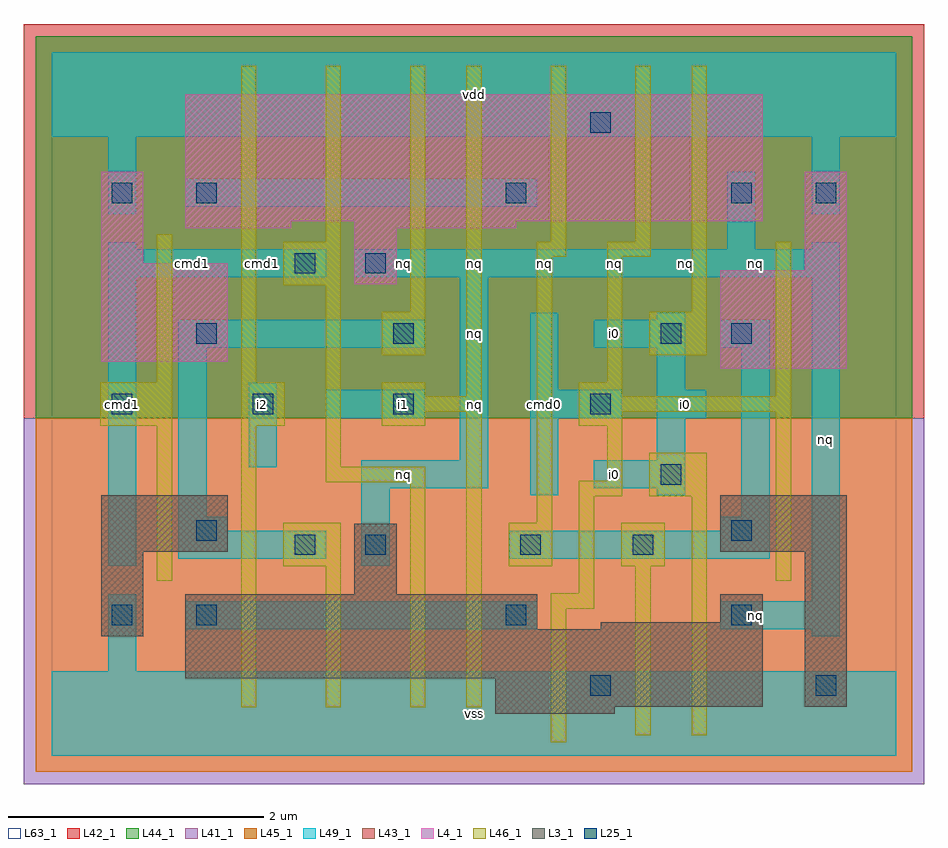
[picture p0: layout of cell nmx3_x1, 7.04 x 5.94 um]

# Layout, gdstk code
import gdstk
lib = gdstk.Library(unit=1e-6, precision=1e-09)
def R(c, l, rs):  # rectangles x0, y0, x1, y1
    for r in rs: c.add(gdstk.rectangle(r[:2], r[2:], *l))
def A(c, l, x, y, w, h, nx, ny, dx, dy):  # array of equal rectangles
    R(c, l, [(x+i*dx, y+j*dy, x+i*dx+w, y+j*dy+h) for i in range(nx) for j in range(ny)])
L3_1 = (3, 1)
L4_1 = (4, 1)
L25_1 = (25, 1)
L41_1 = (41, 1)
L42_1 = (42, 1)
L43_1 = (43, 1)
L44_1 = (44, 1)
L45_1 = (45, 1)
L46_1 = (46, 1)
L49_1 = (49, 1)
L63_1 = (63, 1)

nmx3_x1 = lib.new_cell('nmx3_x1')
R(nmx3_x1, L3_1, [(3.465,0.33,4.4,0.385), (3.465,0.385,5.555,0.605), (5.885,0.385,6.215,1.595), (1.045,0.605,5.555,0.99), (0.385,0.935,0.715,1.595), (1.045,0.99,3.795,1.265), (4.29,0.99,5.555,1.045), (5.225,1.045,5.555,1.265), (2.365,1.265,2.695,1.815), (0.385,1.595,1.375,2.035), (5.225,1.595,6.215,2.035)])
R(nmx3_x1, L4_1, [(5.225,3.025,6.215,3.795), (0.385,3.08,1.375,3.85), (2.365,3.685,2.695,4.125), (5.885,3.795,6.215,4.565), (0.385,3.85,0.715,4.565), (1.045,4.125,1.87,4.18), (2.365,4.125,3.63,4.18), (1.045,4.18,5.555,5.17)])
A(nmx3_x1, L25_1, 4.21, 0.47, 0.16, 0.16, 1, 3, 0, 2.2)
A(nmx3_x1, L25_1, 0.47, 2.67, 0.16, 0.16, 3, 1, 1.1, 0)
R(nmx3_x1, L25_1, [(5.97,0.47,6.13,0.63), (0.47,1.02,0.63,1.18), (1.13,1.02,1.29,1.18), (3.55,1.02,3.71,1.18), (5.31,1.02,5.47,1.18), (1.9,1.57,2.06,1.73), (2.45,1.57,2.61,1.73), (3.66,1.57,3.82,1.73), (4.54,1.57,4.7,1.73), (1.13,1.68,1.29,1.84), (5.31,1.68,5.47,1.84), (4.76,2.12,4.92,2.28), (1.13,3.22,1.29,3.38), (2.67,3.22,2.83,3.38), (4.76,3.22,4.92,3.38), (5.31,3.22,5.47,3.38), (1.9,3.77,2.06,3.93), (2.45,3.77,2.61,3.93), (0.47,4.32,0.63,4.48), (1.13,4.32,1.29,4.48), (3.55,4.32,3.71,4.48), (5.31,4.32,5.47,4.48), (5.97,4.32,6.13,4.48)])
R(nmx3_x1, L41_1, [(-0.22,-0.22,6.82,2.64)])
R(nmx3_x1, L42_1, [(-0.22,2.64,6.82,5.72)])
R(nmx3_x1, L43_1, [(3.465,0.33,4.4,0.385), (3.465,0.385,5.555,0.605), (5.885,0.385,6.215,1.595), (1.045,0.605,5.555,0.99), (0.385,0.935,0.715,1.595), (1.045,0.99,3.795,1.265), (4.29,0.99,5.555,1.045), (5.225,1.045,5.555,1.265), (2.365,1.265,2.695,1.815), (0.385,1.595,1.375,2.035), (5.225,1.595,6.215,2.035), (5.225,3.025,6.215,3.795), (0.385,3.08,1.375,3.85), (2.365,3.685,2.695,4.125), (5.885,3.795,6.215,4.565), (0.385,3.85,0.715,4.565), (1.045,4.125,1.87,4.18), (2.365,4.125,3.63,4.18), (1.045,4.18,5.555,5.17)])
R(nmx3_x1, L44_1, [(-0.125,2.64,6.725,5.625)])
R(nmx3_x1, L45_1, [(-0.125,-0.125,6.725,2.64)])
R(nmx3_x1, L46_1, [(3.9,0.105,4.02,1.15), (4.56,0.16,4.68,1.48), (5,0.16,5.12,2.03), (1.48,0.38,1.6,2.58), (2.14,0.38,2.26,1.48), (2.8,0.38,2.92,2.14), (3.24,0.38,3.36,2.69), (3.9,1.15,4.24,1.27), (4.12,1.27,4.24,2.03), (0.82,1.37,0.94,2.58), (5.66,1.37,5.78,2.69), (1.81,1.48,2.26,1.82), (3.57,1.48,3.91,1.82), (4.45,1.48,4.79,1.82), (3.79,1.82,3.91,3.9), (4.12,2.03,4.46,2.15), (4.67,2.03,5.12,2.37), (2.14,2.14,2.92,2.26), (4.34,2.15,4.46,2.58), (2.14,2.26,2.26,3.68), (0.38,2.58,0.94,2.92), (1.48,2.58,1.82,2.92), (2.58,2.58,2.92,2.69), (4.12,2.58,4.46,2.69), (2.58,2.69,3.36,2.81), (4.12,2.69,5.78,2.81), (2.58,2.81,2.92,2.92), (3.24,2.81,3.36,5.395), (4.12,2.81,4.46,2.92), (5.66,2.81,5.78,4.02), (0.82,2.92,0.94,4.075), (1.48,2.92,1.6,5.395), (4.34,2.92,4.46,3.9), (2.58,3.13,2.92,3.47), (4.67,3.13,5.12,3.47), (2.8,3.47,2.92,5.395), (5,3.47,5.12,5.395), (1.81,3.68,2.26,4.02), (3.79,3.9,4.02,4.02), (4.34,3.9,4.68,4.02), (2.14,4.02,2.26,5.395), (3.9,4.02,4.02,5.395), (4.56,4.02,4.68,5.395)])
R(nmx3_x1, L49_1, [(0,0,6.6,0.66), (0.44,0.66,0.66,1.265), (5.94,0.935,6.16,0.99), (1.045,0.99,3.795,1.21), (5.225,0.99,6.16,1.21), (5.94,1.21,6.16,3.74), (0.44,1.485,0.66,3.74), (2.42,1.485,2.64,2.09), (0.99,1.54,2.145,1.76), (3.575,1.54,5.61,1.76), (0.99,1.76,1.375,1.87), (5.225,1.76,5.61,1.87), (0.99,1.87,1.21,3.19), (5.39,1.87,5.61,3.19), (3.74,2.035,3.96,2.64), (4.73,2.035,4.95,2.09), (2.42,2.09,3.41,2.31), (4.235,2.09,4.95,2.31), (1.54,2.255,1.76,2.915), (3.19,2.31,3.41,3.74), (4.73,2.31,4.95,2.64), (2.145,2.64,2.915,2.86), (3.74,2.64,4.455,2.86), (4.73,2.64,5.115,2.86), (3.74,2.86,3.96,3.465), (4.73,2.86,4.95,3.19), (0.99,3.19,2.915,3.41), (4.235,3.19,4.95,3.41), (5.225,3.19,5.61,3.41), (4.73,3.41,4.95,3.465), (0.44,3.74,2.145,3.96), (2.365,3.74,6.16,3.96), (0.44,3.96,0.66,4.015), (5.28,3.96,5.5,4.565), (5.94,3.96,6.16,4.015), (0.44,4.235,0.66,4.84), (5.94,4.235,6.16,4.84), (1.045,4.29,3.795,4.51), (0,4.84,6.6,5.5)])
R(nmx3_x1, L63_1, [(0,0,6.6,5.5)])
nmx3_x1.add(gdstk.Label('cmd1', (0.55,2.75), layer=49, texttype=1))
nmx3_x1.add(gdstk.Label('i2', (1.65,2.75), layer=49, texttype=1))
nmx3_x1.add(gdstk.Label('cmd1', (1.1,3.85), layer=49, texttype=1))
nmx3_x1.add(gdstk.Label('cmd1', (1.65,3.85), layer=49, texttype=1))
nmx3_x1.add(gdstk.Label('vss', (3.3,0.33), layer=49, texttype=1))
nmx3_x1.add(gdstk.Label('nq', (2.75,2.2), layer=49, texttype=1))
nmx3_x1.add(gdstk.Label('i1', (2.75,2.75), layer=49, texttype=1))
nmx3_x1.add(gdstk.Label('nq', (3.3,2.75), layer=49, texttype=1))
nmx3_x1.add(gdstk.Label('nq', (3.3,3.3), layer=49, texttype=1))
nmx3_x1.add(gdstk.Label('nq', (2.75,3.85), layer=49, texttype=1))
nmx3_x1.add(gdstk.Label('nq', (3.3,3.85), layer=49, texttype=1))
nmx3_x1.add(gdstk.Label('vdd', (3.3,5.17), layer=49, texttype=1))
nmx3_x1.add(gdstk.Label('i0', (4.4,2.2), layer=49, texttype=1))
nmx3_x1.add(gdstk.Label('cmd0', (3.85,2.75), layer=49, texttype=1))
nmx3_x1.add(gdstk.Label('i0', (4.95,2.75), layer=49, texttype=1))
nmx3_x1.add(gdstk.Label('i0', (4.4,3.3), layer=49, texttype=1))
nmx3_x1.add(gdstk.Label('nq', (3.85,3.85), layer=49, texttype=1))
nmx3_x1.add(gdstk.Label('nq', (4.4,3.85), layer=49, texttype=1))
nmx3_x1.add(gdstk.Label('nq', (4.95,3.85), layer=49, texttype=1))
nmx3_x1.add(gdstk.Label('nq', (5.5,1.1), layer=49, texttype=1))
nmx3_x1.add(gdstk.Label('nq', (6.05,2.475), layer=49, texttype=1))
nmx3_x1.add(gdstk.Label('nq', (5.5,3.85), layer=49, texttype=1))

lib.write_gds('nmx3_x1.gds')
